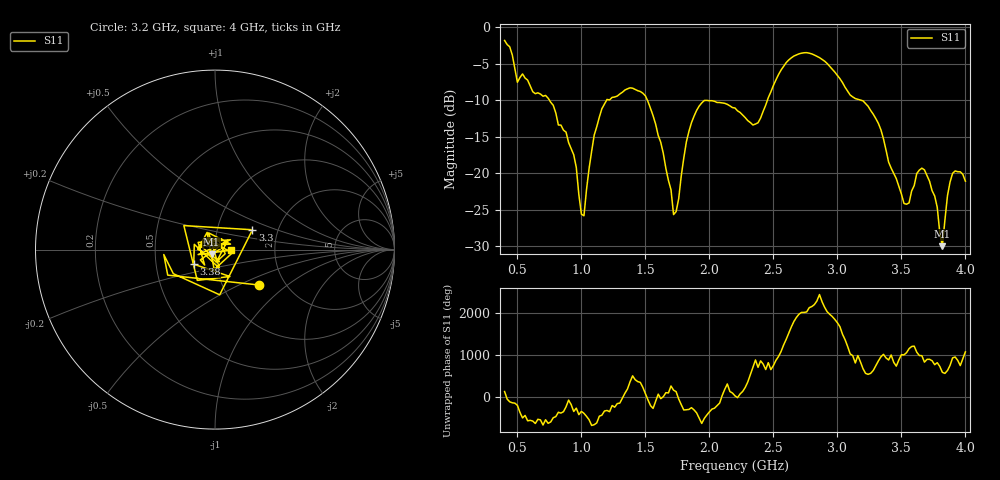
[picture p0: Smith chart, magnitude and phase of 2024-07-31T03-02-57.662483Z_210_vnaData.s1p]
!Created with skrf (http://scikit-rf.org).
# Hz S RI R 50.0
!freq ReS11 ImS11
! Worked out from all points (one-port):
!   181 points, 400 MHz to 4 GHz, reference 50 ohm
!   lowest |S11| = -30.0 dB at 3.82 GHz (marker M1), VSWR 1.07, Z = 48.1 - j2.45 ohm
!   |S11| at or under -10 dB: 749.2 MHz to 1.197 GHz (448.2 MHz wide, 46 % of centre); 1.515 GHz to 2.454 GHz (938.8 MHz wide, 47.3 % of centre); 3.178 GHz to end of sweep
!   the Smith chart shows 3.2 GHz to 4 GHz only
!   S11 on the Smith chart (normalised r, x): 3.2 GHz: 1.47, -0.64; 3.3 GHz: 1.48, +0.35; 3.38 GHz: 0.78, -0.13; 4 GHz: 1.19, -0.01
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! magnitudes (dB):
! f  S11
! 400 MHz  -1.8
! 500 MHz  -7.6
! 720 MHz  -9.4
! 860 MHz  -14.1
! 940 MHz  -17.5
! 1.02 GHz  -25.8
! 1.14 GHz  -12.3
! 1.3 GHz  -9.2
! 1.5 GHz  -9.4
! 1.62 GHz  -15.8
! 1.72 GHz  -25.7
! 1.76 GHz  -23.5
! 1.82 GHz  -15.7
! 1.92 GHz  -10.8
! 2.2 GHz  -11.1
! 2.38 GHz  -13.1
! 2.66 GHz  -4.0
! 2.88 GHz  -4.4
! 3.1 GHz  -9.3
! 3.2 GHz  -10.1
! 3.3 GHz  -12.5
! 3.38 GHz  -16.8
! 3.56 GHz  -24.1
! 3.68 GHz  -19.6
! 3.76 GHz  -23.1
! 3.82 GHz  -30.0
! 3.9 GHz  -20.0
! 4 GHz  -21.1
